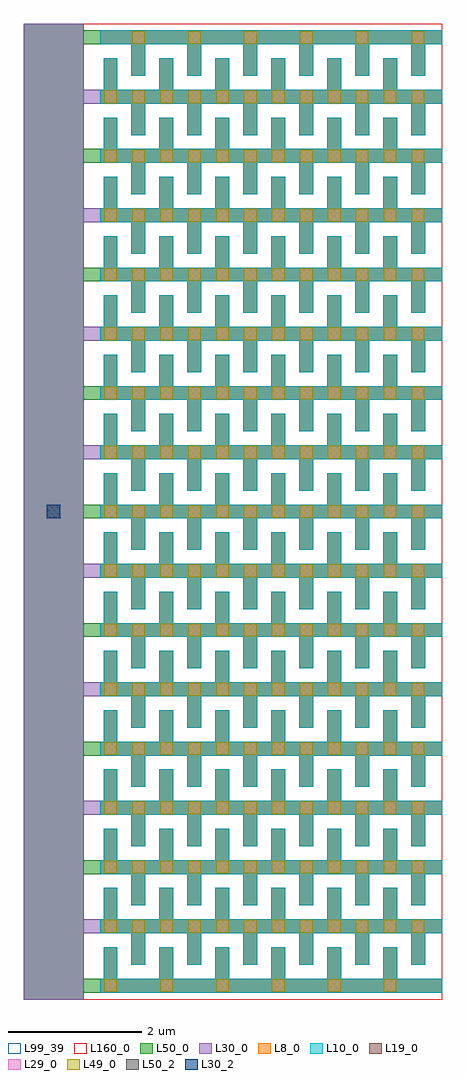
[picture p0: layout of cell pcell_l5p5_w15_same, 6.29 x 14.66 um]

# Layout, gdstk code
import gdstk
lib = gdstk.Library(unit=1e-6, precision=1e-09)
def R(c, l, rs):  # rectangles x0, y0, x1, y1
    for r in rs: c.add(gdstk.rectangle(r[:2], r[2:], *l))
def A(c, l, x, y, w, h, nx, ny, dx, dy):  # array of equal rectangles
    R(c, l, [(x+i*dx, y+j*dy, x+i*dx+w, y+j*dy+h) for i in range(nx) for j in range(ny)])
L8_0 = (8, 0)
L10_0 = (10, 0)
L19_0 = (19, 0)
L29_0 = (29, 0)
L30_0 = (30, 0)
L30_2 = (30, 2)
L49_0 = (49, 0)
L50_0 = (50, 0)
L50_2 = (50, 2)
L99_39 = (99, 39)
L160_0 = (160, 0)

pcell_l5p5_w15_same = lib.new_cell('pcell_l5p5_w15_same')
A(pcell_l5p5_w15_same, L8_0, -0.05, -0.105, 5.14, 0.21, 1, 17, 0, 0.89)
A(pcell_l5p5_w15_same, L8_0, 0, 0, 0.21, 0.575, 6, 16, 0.84, 0.89)
A(pcell_l5p5_w15_same, L8_0, 0.42, 0.315, 0.21, 0.575, 6, 16, 0.84, 0.89)
A(pcell_l5p5_w15_same, L10_0, -0.05, -0.105, 5.14, 0.21, 1, 17, 0, 0.89)
A(pcell_l5p5_w15_same, L10_0, 0, 0, 0.21, 0.575, 6, 16, 0.84, 0.89)
A(pcell_l5p5_w15_same, L10_0, 0.42, 0.315, 0.21, 0.575, 6, 16, 0.84, 0.89)
A(pcell_l5p5_w15_same, L19_0, 0.01, -0.095, 0.19, 0.19, 6, 1, 0.84, 0)
A(pcell_l5p5_w15_same, L19_0, 0.01, 0.795, 0.19, 0.19, 12, 15, 0.42, 0.89)
A(pcell_l5p5_w15_same, L19_0, 0.43, 14.145, 0.19, 0.19, 6, 1, 0.84, 0)
A(pcell_l5p5_w15_same, L29_0, 0.01, -0.095, 0.19, 0.19, 6, 1, 0.84, 0)
A(pcell_l5p5_w15_same, L29_0, 0.01, 0.795, 0.19, 0.19, 12, 15, 0.42, 0.89)
A(pcell_l5p5_w15_same, L29_0, 0.43, 14.145, 0.19, 0.19, 6, 1, 0.84, 0)
A(pcell_l5p5_w15_same, L30_0, -0.05, -0.105, 5.14, 0.21, 1, 9, 0, 1.78)
A(pcell_l5p5_w15_same, L30_0, 0, 0, 0.21, 0.575, 6, 16, 0.84, 0.89)
A(pcell_l5p5_w15_same, L30_0, 0.42, 0.315, 0.21, 0.575, 6, 16, 0.84, 0.89)
A(pcell_l5p5_w15_same, L30_0, -1.2, 0.785, 6.29, 0.21, 1, 8, 0, 1.78)
R(pcell_l5p5_w15_same, L30_0, [(-1.2,-0.21,-0.3,14.45)])
R(pcell_l5p5_w15_same, L30_2, [(-0.85,7.015,-0.65,7.225)])
A(pcell_l5p5_w15_same, L49_0, 0.01, -0.095, 0.19, 0.19, 6, 1, 0.84, 0)
A(pcell_l5p5_w15_same, L49_0, 0.01, 0.795, 0.19, 0.19, 12, 15, 0.42, 0.89)
A(pcell_l5p5_w15_same, L49_0, 0.43, 14.145, 0.19, 0.19, 6, 1, 0.84, 0)
A(pcell_l5p5_w15_same, L50_0, -1.2, -0.105, 6.29, 0.21, 1, 9, 0, 1.78)
A(pcell_l5p5_w15_same, L50_0, 0, 0, 0.21, 0.575, 6, 16, 0.84, 0.89)
A(pcell_l5p5_w15_same, L50_0, 0.42, 0.315, 0.21, 0.575, 6, 16, 0.84, 0.89)
A(pcell_l5p5_w15_same, L50_0, -0.05, 0.785, 5.14, 0.21, 1, 8, 0, 1.78)
R(pcell_l5p5_w15_same, L50_0, [(-1.2,-0.21,-0.3,14.45)])
R(pcell_l5p5_w15_same, L50_2, [(-0.85,7.015,-0.65,7.225)])
R(pcell_l5p5_w15_same, L99_39, [(-1.2,-0.21,5.09,14.45)])
R(pcell_l5p5_w15_same, L160_0, [(-1.2,-0.21,5.09,14.45)])
pcell_l5p5_w15_same.add(gdstk.Label('cap_cmomi C=91.247fF', (-1.2,-0.71), layer=63, texttype=0))

lib.write_gds('pcell_l5p5_w15_same.gds')
